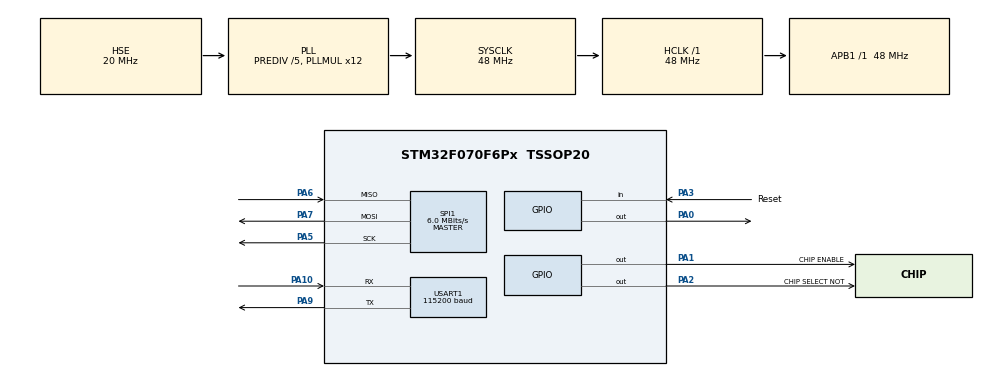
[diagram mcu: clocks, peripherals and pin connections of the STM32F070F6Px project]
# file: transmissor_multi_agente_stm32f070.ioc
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Mcu.Family=STM32F0
Mcu.Name=STM32F070F6Px
Mcu.Package=TSSOP20
NVIC.USART1_IRQn=true\:0\:0\:false\:false\:true\:true\:true\:true
PA0.Signal=GPIO_Output
PA1.GPIO_Label=CHIP ENABLE
PA1.Signal=GPIO_Output
PA10.Mode=Asynchronous
PA10.Signal=USART1_RX
PA13.Mode=Serial_Wire
PA13.Signal=SYS_SWDIO
PA14.Mode=Serial_Wire
PA14.Signal=SYS_SWCLK
PA2.GPIO_Label=CHIP SELECT NOT
PA2.Signal=GPIO_Output
PA3.GPIO_Label=Reset
PA3.GPIO_PuPd=GPIO_PULLUP
PA3.Signal=GPIO_Input
PA5.Mode=Full_Duplex_Master
PA5.Signal=SPI1_SCK
PA6.Mode=Full_Duplex_Master
PA6.Signal=SPI1_MISO
PA7.Mode=Full_Duplex_Master
PA7.Signal=SPI1_MOSI
PA9.Mode=Asynchronous
PA9.Signal=USART1_TX
PF0-OSC_IN.Mode=HSE-External-Oscillator
PF0-OSC_IN.Signal=RCC_OSC_IN
PF1-OSC_OUT.Mode=HSE-External-Oscillator
PF1-OSC_OUT.Signal=RCC_OSC_OUT
ProjectManager.HeapSize=0x200
ProjectManager.StackSize=0x400
ProjectManager.TargetToolchain=STM32CubeIDE
RCC.AHBFreq_Value=48000000
RCC.APB1Freq_Value=48000000
RCC.APB1TimFreq_Value=48000000
RCC.HCLKFreq_Value=48000000
RCC.HSE_VALUE=20000000
RCC.PLLDivider=RCC_PREDIV_DIV5
RCC.PLLMUL=RCC_PLL_MUL12
RCC.PLLSourceVirtual=RCC_PLLSOURCE_HSE
RCC.SYSCLKFreq_VALUE=48000000
RCC.SYSCLKSource=RCC_SYSCLKSOURCE_PLLCLK
SPI1.BaudRatePrescaler=SPI_BAUDRATEPRESCALER_8
SPI1.CalculateBaudRate=6.0 MBits/s
SPI1.DataSize=SPI_DATASIZE_8BIT
SPI1.Direction=SPI_DIRECTION_2LINES
SPI1.Mode=SPI_MODE_MASTER
SPI1.VirtualType=VM_MASTER
USART1.BaudRate=115200
USART1.VirtualMode=VM_ASYNC
board=custom

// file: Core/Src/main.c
/* USER CODE BEGIN Header */
/**
  ******************************************************************************
  * @file           : main.c
  * @brief          : Main program body
  ******************************************************************************
  * @attention
  *
  * Copyright (c) 2024 STMicroelectronics.
  * All rights reserved.
  *
  * This software is licensed under terms that can be found in the LICENSE file
  * in the root directory of this software component.
  * If no LICENSE file comes with this software, it is provided AS-IS.
  *
  ******************************************************************************
  */
/* USER CODE END Header */
#include "main.h"

/* USER CODE BEGIN Includes */
#include "NRF24L01.h"
/* USER CODE END Includes */

SPI_HandleTypeDef hspi1;

UART_HandleTypeDef huart1;

/* USER CODE BEGIN PV */

uint8_t RX1_Char = 0x00;
/* USER CODE END PV */

void SystemClock_Config(void);
static void MX_GPIO_Init(void);
static void MX_USART1_UART_Init(void);
static void MX_SPI1_Init(void);
/* USER CODE BEGIN PFP */
void HAL_USART_RxCpltCallback(UART_HandleTypeDef *huart)
 {
     HAL_UART_Receive_IT(&huart1, &RX1_Char, 1); //recebendo char
 }

/* USER CODE END PFP */

/* USER CODE BEGIN 0 */
uint8_t TxAddress[] = {0xEE, 0xDD, 0xCC, 0xBB, 0xAA};
uint8_t TxData[] = "Deu boom";
//---------[ UART Data Reception Completion CallBackFunc. ]---------

/* USER CODE END 0 */

int main(void)
{

  /* MCU Configuration--------------------------------------------------------*/

  /* Reset of all peripherals, Initializes the Flash interface and the Systick. */
  HAL_Init();

  /* Configure the system clock */
  SystemClock_Config();

  /* Initialize all configured peripherals */
  MX_GPIO_Init();
  MX_USART1_UART_Init();
  MX_SPI1_Init();
  /* USER CODE BEGIN 2 */

  NRF24_Init();
  NRF24_TxMode(TxAddress, 10);
  //HAL_UART_Receive_IT(&huart1, &RX1_Char, 1); //recebendo o char do pc

  /* USER CODE END 2 */

  /* Infinite loop */
  while (1)
  {

    /* USER CODE BEGIN 3 */
	  //--------[ Read The Received Character & Toggle LEDs Accordingly ]--------
	      if(RX1_Char == '1')
	      {
	    	HAL_GPIO_TogglePin(GPIOA, GPIO_PIN_0);
	        HAL_UART_Receive_IT(&huart1, &RX1_Char, 1);
	        RX1_Char = 0x00;
	      }
	      if(RX1_Char == '2')
	      {
	    	HAL_GPIO_TogglePin(GPIOA, GPIO_PIN_0);
	        HAL_UART_Receive_IT(&huart1, &RX1_Char, 1);
	        RX1_Char = 0x00;
	      }
	      if (HAL_GPIO_ReadPin(GPIOA, GPIO_PIN_3) == GPIO_PIN_RESET) { // Substitua x pelo número do pino GPIO
	              // Botão de reset pressionado
	              // Realize a ação de reinicialização aqui
	              // Por exemplo:
	              HAL_NVIC_SystemReset(); // Reinicialização usando HAL
	      }
	      if (NRF24_Transmit(TxData) == 1){
	    	  HAL_GPIO_TogglePin(GPIOA, GPIO_PIN_0);
	    	  HAL_Delay(1000);
	      }
  }
  /* USER CODE END 3 */
}

void SystemClock_Config(void)
{
  RCC_OscInitTypeDef RCC_OscInitStruct = {0};
  RCC_ClkInitTypeDef RCC_ClkInitStruct = {0};
  RCC_PeriphCLKInitTypeDef PeriphClkInit = {0};

  /** Initializes the RCC Oscillators according to the specified parameters
  * in the RCC_OscInitTypeDef structure.
  */
  RCC_OscInitStruct.OscillatorType = RCC_OSCILLATORTYPE_HSE;
  RCC_OscInitStruct.HSEState = RCC_HSE_ON;
  RCC_OscInitStruct.PLL.PLLState = RCC_PLL_ON;
  RCC_OscInitStruct.PLL.PLLSource = RCC_PLLSOURCE_HSE;
  RCC_OscInitStruct.PLL.PLLMUL = RCC_PLL_MUL12;
  RCC_OscInitStruct.PLL.PREDIV = RCC_PREDIV_DIV5;
  if (HAL_RCC_OscConfig(&RCC_OscInitStruct) != HAL_OK)
  {
    Error_Handler();
  }

  /** Initializes the CPU, AHB and APB buses clocks
  */
  RCC_ClkInitStruct.ClockType = RCC_CLOCKTYPE_HCLK|RCC_CLOCKTYPE_SYSCLK
                              |RCC_CLOCKTYPE_PCLK1;
  RCC_ClkInitStruct.SYSCLKSource = RCC_SYSCLKSOURCE_PLLCLK;
  RCC_ClkInitStruct.AHBCLKDivider = RCC_SYSCLK_DIV1;
  RCC_ClkInitStruct.APB1CLKDivider = RCC_HCLK_DIV1;

  if (HAL_RCC_ClockConfig(&RCC_ClkInitStruct, FLASH_LATENCY_1) != HAL_OK)
  {
    Error_Handler();
  }
  PeriphClkInit.PeriphClockSelection = RCC_PERIPHCLK_USART1;
  PeriphClkInit.Usart1ClockSelection = RCC_USART1CLKSOURCE_PCLK1;
  if (HAL_RCCEx_PeriphCLKConfig(&PeriphClkInit) != HAL_OK)
  {
    Error_Handler();
  }
}

static void MX_SPI1_Init(void)
{

  /* SPI1 parameter configuration*/
  hspi1.Instance = SPI1;
  hspi1.Init.Mode = SPI_MODE_MASTER;
  hspi1.Init.Direction = SPI_DIRECTION_2LINES;
  hspi1.Init.DataSize = SPI_DATASIZE_8BIT;
  hspi1.Init.CLKPolarity = SPI_POLARITY_LOW;
  hspi1.Init.CLKPhase = SPI_PHASE_1EDGE;
  hspi1.Init.NSS = SPI_NSS_SOFT;
  hspi1.Init.BaudRatePrescaler = SPI_BAUDRATEPRESCALER_8;
  hspi1.Init.FirstBit = SPI_FIRSTBIT_MSB;
  hspi1.Init.TIMode = SPI_TIMODE_DISABLE;
  hspi1.Init.CRCCalculation = SPI_CRCCALCULATION_DISABLE;
  hspi1.Init.CRCPolynomial = 7;
  hspi1.Init.CRCLength = SPI_CRC_LENGTH_DATASIZE;
  hspi1.Init.NSSPMode = SPI_NSS_PULSE_ENABLE;
  if (HAL_SPI_Init(&hspi1) != HAL_OK)
  {
    Error_Handler();
  }

}

static void MX_USART1_UART_Init(void)
{

  huart1.Instance = USART1;
  huart1.Init.BaudRate = 115200;
  huart1.Init.WordLength = UART_WORDLENGTH_8B;
  huart1.Init.StopBits = UART_STOPBITS_1;
  huart1.Init.Parity = UART_PARITY_NONE;
  huart1.Init.Mode = UART_MODE_TX_RX;
  huart1.Init.HwFlowCtl = UART_HWCONTROL_NONE;
  huart1.Init.OverSampling = UART_OVERSAMPLING_16;
  huart1.Init.OneBitSampling = UART_ONE_BIT_SAMPLE_DISABLE;
  huart1.AdvancedInit.AdvFeatureInit = UART_ADVFEATURE_NO_INIT;
  if (HAL_UART_Init(&huart1) != HAL_OK)
  {
    Error_Handler();
  }

}

static void MX_GPIO_Init(void)
{
  GPIO_InitTypeDef GPIO_InitStruct = {0};

  /* GPIO Ports Clock Enable */
  __HAL_RCC_GPIOF_CLK_ENABLE();
  __HAL_RCC_GPIOA_CLK_ENABLE();

  /*Configure GPIO pin Output Level */
  HAL_GPIO_WritePin(GPIOA, GPIO_PIN_0|CHIP_ENABLE_Pin|CHIP_SELECT_NOT_Pin, GPIO_PIN_RESET);

  /*Configure GPIO pins : PA0 CHIP_ENABLE_Pin CHIP_SELECT_NOT_Pin */
  GPIO_InitStruct.Pin = GPIO_PIN_0|CHIP_ENABLE_Pin|CHIP_SELECT_NOT_Pin;
  GPIO_InitStruct.Mode = GPIO_MODE_OUTPUT_PP;
  GPIO_InitStruct.Pull = GPIO_NOPULL;
  GPIO_InitStruct.Speed = GPIO_SPEED_FREQ_LOW;
  HAL_GPIO_Init(GPIOA, &GPIO_InitStruct);

  /*Configure GPIO pin : Reset_Pin */
  GPIO_InitStruct.Pin = Reset_Pin;
  GPIO_InitStruct.Mode = GPIO_MODE_INPUT;
  GPIO_InitStruct.Pull = GPIO_PULLUP;
  HAL_GPIO_Init(Reset_GPIO_Port, &GPIO_InitStruct);

}

void Error_Handler(void)
{
  __disable_irq();
  while (1)
  {
  }
}
